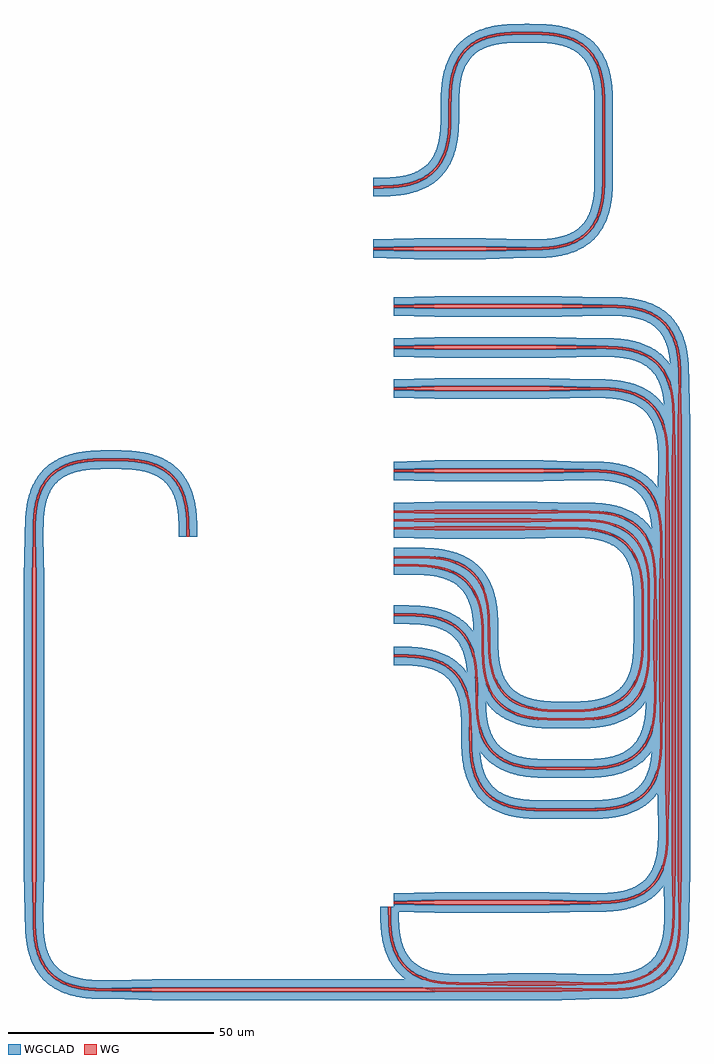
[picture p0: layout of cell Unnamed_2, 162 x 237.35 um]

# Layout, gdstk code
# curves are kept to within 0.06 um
from math import pi, radians
import gdstk
lib = gdstk.Library(unit=1e-6, precision=1e-09)
def R(c, l, rs):  # rectangles x0, y0, x1, y1
    for r in rs: c.add(gdstk.rectangle(r[:2], r[2:], *l))
def P(c, l, *ps):  # polygons
    for p in ps: c.add(gdstk.Polygon(p, *l))
WG = (1, 0)
WGCLAD = (111, 0)

straight_cssym_f7fe636c_ = lib.new_cell('straight_CSsym_f7fe636c_1000_L17402')
R(straight_cssym_f7fe636c_, WG, [(0,-0.5,17.402,0.5)])
R(straight_cssym_f7fe636c_, WGCLAD, [(0,-2.5,17.402,-0.5), (0,0.5,17.402,2.5)])

c_straight_cssym_f7fe636c_ = lib.new_cell('straight_CSsym_f7fe636c_500_L15000')
R(c_straight_cssym_f7fe636c_, WG, [(0,-0.25,15,0.25)])
R(c_straight_cssym_f7fe636c_, WGCLAD, [(0,-2.25,15,-0.25), (0,0.25,15,2.25)])

bend_euler_cssym_f7fe636 = lib.new_cell('bend_euler_CSsym_f7fe636c_500_R10_A90_R150')
P(bend_euler_cssym_f7fe636, WG, [(0,-0.25),(0,0.25),(3.214,0.285),(5.343,0.413),(7.449,0.696),(9.255,1.116),(10.752,1.632),(12.178,2.312),(13.501,3.168),(14.496,4.019),(15.372,4.992),(16.258,6.294),(16.967,7.705),(17.51,9.193),(17.956,10.991),(18.262,13.093),(18.416,15.487),(18.451,18.701),(18.951,18.701),(18.924,15.741),(18.786,13.312),(18.544,11.43),(18.139,9.57),(17.532,7.761),(16.826,6.28),(16.095,5.121),(15.04,3.856),(13.801,2.769),(12.421,1.875),(10.94,1.169),(9.131,0.562),(7.271,0.157),(5.389,-0.085),(2.96,-0.223)])
P(bend_euler_cssym_f7fe636, WGCLAD, [(0,-2.25),(0,-0.25),(2.96,-0.223),(5.389,-0.085),(7.271,0.157),(9.131,0.562),(10.94,1.169),(12.421,1.875),(13.58,2.606),(14.845,3.661),(15.932,4.9),(16.826,6.28),(17.532,7.761),(18.139,9.57),(18.544,11.43),(18.786,13.312),(18.924,15.741),(18.951,18.701),(20.951,18.701),(20.923,15.685),(20.777,13.129),(20.516,11.097),(20.069,9.045),(19.385,7.008),(18.574,5.309),(17.531,3.698),(16.473,2.461),(15.26,1.368),(13.668,0.284),(11.98,-0.564),(9.948,-1.286),(7.897,-1.764),(5.572,-2.076),(3.016,-2.222)],
  [(0,0.25),(0,2.25),(4.663,2.364),(6.377,2.547),(8.021,2.859),(9.575,3.322),(10.816,3.854),(12.126,4.64),(13.101,5.452),(13.934,6.402),(14.745,7.688),(15.299,8.912),(15.786,10.452),(16.118,12.084),(16.318,13.789),(16.451,18.701),(18.451,18.701),(18.416,15.487),(18.288,13.358),(18.051,11.513),(17.656,9.701),(17.069,7.949),(16.389,6.523),(15.533,5.2),(14.496,4.019),(13.289,3.013),(11.947,2.187),(10.507,1.535),(8.744,0.977),(6.926,0.607),(5.078,0.39)])

c_straight_cssym_f7fe636c__ = lib.new_cell('straight_CSsym_f7fe636c_1000_L30902')
R(c_straight_cssym_f7fe636c__, WG, [(0,-0.5,30.902,0.5)])
R(c_straight_cssym_f7fe636c__, WGCLAD, [(0,-2.5,30.902,-0.5), (0,0.5,30.902,2.5)])

c_straight_cssym_f7fe636c___ = lib.new_cell('straight_CSsym_f7fe636c_1000_L108799')
R(c_straight_cssym_f7fe636c___, WG, [(0,-0.5,108.799,0.5)])
R(c_straight_cssym_f7fe636c___, WGCLAD, [(0,-2.5,108.799,-0.5), (0,0.5,108.799,2.5)])

c_straight_cssym_f7fe636c____ = lib.new_cell('straight_CSsym_f7fe636c_500_L11000')
R(c_straight_cssym_f7fe636c____, WG, [(0,-0.25,11,0.25)])
R(c_straight_cssym_f7fe636c____, WGCLAD, [(0,-2.25,11,-0.25), (0,0.25,11,2.25)])

c_straight_cssym_f7fe636c_____ = lib.new_cell('straight_CSsym_f7fe636c_1000_L97299')
R(c_straight_cssym_f7fe636c_____, WG, [(0,-0.5,97.299,0.5)])
R(c_straight_cssym_f7fe636c_____, WGCLAD, [(0,-2.5,97.299,-0.5), (0,0.5,97.299,2.5)])

c_straight_cssym_f7fe636c______ = lib.new_cell('straight_CSsym_f7fe636c_500_L3000')
R(c_straight_cssym_f7fe636c______, WG, [(0,-0.25,3,0.25)])
R(c_straight_cssym_f7fe636c______, WGCLAD, [(0,-2.25,3,-0.25), (0,0.25,3,2.25)])

c_straight_cssym_f7fe636c_______ = lib.new_cell('straight_CSsym_f7fe636c_1000_L11701')
R(c_straight_cssym_f7fe636c_______, WG, [(0,-0.5,11.701,0.5)])
R(c_straight_cssym_f7fe636c_______, WGCLAD, [(0,-2.5,11.701,-0.5), (0,0.5,11.701,2.5)])

c_straight_cssym_f7fe636c________ = lib.new_cell('straight_CSsym_f7fe636c_1000_L23402')
R(c_straight_cssym_f7fe636c________, WG, [(0,-0.5,23.402,0.5)])
R(c_straight_cssym_f7fe636c________, WGCLAD, [(0,-2.5,23.402,-0.5), (0,0.5,23.402,2.5)])

c_straight_cssym_f7fe636c_________ = lib.new_cell('straight_CSsym_f7fe636c_1000_L21902')
R(c_straight_cssym_f7fe636c_________, WG, [(0,-0.5,21.902,0.5)])
R(c_straight_cssym_f7fe636c_________, WGCLAD, [(0,-2.5,21.902,-0.5), (0,0.5,21.902,2.5)])

c_straight_cssym_f7fe636c__________ = lib.new_cell('straight_CSsym_f7fe636c_500_L9000')
R(c_straight_cssym_f7fe636c__________, WG, [(0,-0.25,9,0.25)])
R(c_straight_cssym_f7fe636c__________, WGCLAD, [(0,-2.25,9,-0.25), (0,0.25,9,2.25)])

taper_cssym_f7fe636c_500 = lib.new_cell('taper_CSsym_f7fe636c_500_CSsym_f7fe636c_1000_L10000')
P(taper_cssym_f7fe636c_500, WG, [(10,-0.5),(0,-0.25),(0,0.25),(10,0.5)])
P(taper_cssym_f7fe636c_500, WGCLAD, [(0,0.25),(0,2.25),(10,2.5),(10,0.5)],
  [(10,-2.5),(0,-2.25),(0,-0.25),(10,-0.5)])

c_straight_cssym_f7fe636c___________ = lib.new_cell('straight_CSsym_f7fe636c_500_L1500')
R(c_straight_cssym_f7fe636c___________, WG, [(0,-0.25,1.5,0.25)])
R(c_straight_cssym_f7fe636c___________, WGCLAD, [(0,-2.25,1.5,-0.25), (0,0.25,1.5,2.25)])

c_straight_cssym_f7fe636c____________ = lib.new_cell('straight_CSsym_f7fe636c_500_L7000')
R(c_straight_cssym_f7fe636c____________, WG, [(0,-0.25,7,0.25)])
R(c_straight_cssym_f7fe636c____________, WGCLAD, [(0,-2.25,7,-0.25), (0,0.25,7,2.25)])

c_straight_cssym_f7fe636c_____________ = lib.new_cell('straight_CSsym_f7fe636c_1000_L67598')
R(c_straight_cssym_f7fe636c_____________, WG, [(0,-0.5,67.598,0.5)])
R(c_straight_cssym_f7fe636c_____________, WGCLAD, [(0,-2.5,67.598,-0.5), (0,0.5,67.598,2.5)])

c_straight_cssym_f7fe636c______________ = lib.new_cell('straight_CSsym_f7fe636c_1000_L99603')
R(c_straight_cssym_f7fe636c______________, WG, [(0,-0.5,99.603,0.5)])
R(c_straight_cssym_f7fe636c______________, WGCLAD, [(0,-2.5,99.603,-0.5), (0,0.5,99.603,2.5)])

c_straight_cssym_f7fe636c_______________ = lib.new_cell('straight_CSsym_f7fe636c_1000_L71500')
R(c_straight_cssym_f7fe636c_______________, WG, [(0,-0.5,71.5,0.5)])
R(c_straight_cssym_f7fe636c_______________, WGCLAD, [(0,-2.5,71.5,-0.5), (0,0.5,71.5,2.5)])

c_straight_cssym_f7fe636c________________ = lib.new_cell('straight_CSsym_f7fe636c_500_L4500')
R(c_straight_cssym_f7fe636c________________, WG, [(0,-0.25,4.5,0.25)])
R(c_straight_cssym_f7fe636c________________, WGCLAD, [(0,-2.25,4.5,-0.25), (0,0.25,4.5,2.25)])

c_straight_cssym_f7fe636c_________________ = lib.new_cell('straight_CSsym_f7fe636c_1000_L27902')
R(c_straight_cssym_f7fe636c_________________, WG, [(0,-0.5,27.902,0.5)])
R(c_straight_cssym_f7fe636c_________________, WGCLAD, [(0,-2.5,27.902,-0.5), (0,0.5,27.902,2.5)])

c_straight_cssym_f7fe636c__________________ = lib.new_cell('straight_CSsym_f7fe636c_500_L6000')
R(c_straight_cssym_f7fe636c__________________, WG, [(0,-0.25,6,0.25)])
R(c_straight_cssym_f7fe636c__________________, WGCLAD, [(0,-2.25,6,-0.25), (0,0.25,6,2.25)])

c_straight_cssym_f7fe636c___________________ = lib.new_cell('straight_CSsym_f7fe636c_1000_L5000')
R(c_straight_cssym_f7fe636c___________________, WG, [(0,-0.5,5,0.5)])
R(c_straight_cssym_f7fe636c___________________, WGCLAD, [(0,-2.5,5,-0.5), (0,0.5,5,2.5)])

c_straight_cssym_f7fe636c____________________ = lib.new_cell('straight_CSsym_f7fe636c_1000_L24902')
R(c_straight_cssym_f7fe636c____________________, WG, [(0,-0.5,24.902,0.5)])
R(c_straight_cssym_f7fe636c____________________, WGCLAD, [(0,-2.5,24.902,-0.5), (0,0.5,24.902,2.5)])

c_straight_cssym_f7fe636c_____________________ = lib.new_cell('straight_CSsym_f7fe636c_1000_L25000')
R(c_straight_cssym_f7fe636c_____________________, WG, [(0,-0.5,25,0.5)])
R(c_straight_cssym_f7fe636c_____________________, WGCLAD, [(0,-2.5,25,-0.5), (0,0.5,25,2.5)])

c_straight_cssym_f7fe636c______________________ = lib.new_cell('straight_CSsym_f7fe636c_1000_L26402')
R(c_straight_cssym_f7fe636c______________________, WG, [(0,-0.5,26.402,0.5)])
R(c_straight_cssym_f7fe636c______________________, WGCLAD, [(0,-2.5,26.402,-0.5), (0,0.5,26.402,2.5)])

c_straight_cssym_f7fe636c_______________________ = lib.new_cell('straight_CSsym_f7fe636c_1000_L29402')
R(c_straight_cssym_f7fe636c_______________________, WG, [(0,-0.5,29.402,0.5)])
R(c_straight_cssym_f7fe636c_______________________, WGCLAD, [(0,-2.5,29.402,-0.5), (0,0.5,29.402,2.5)])

unnamed_2 = lib.new_cell('Unnamed_2')
unnamed_2.add(gdstk.Reference(straight_cssym_f7fe636c_, (22.402,75), rotation=pi))
unnamed_2.add(gdstk.Reference(c_straight_cssym_f7fe636c_, (51.103,108.701), rotation=3*pi/2))
unnamed_2.add(gdstk.Reference(bend_euler_cssym_f7fe636, (32.402,75)))
unnamed_2.add(gdstk.Reference(c_straight_cssym_f7fe636c__, (40.902,61), rotation=pi))
unnamed_2.add(gdstk.Reference(c_straight_cssym_f7fe636c___, (69.603,-76.5), rotation=pi/2))
unnamed_2.add(gdstk.Reference(c_straight_cssym_f7fe636c____, (62.103,-20.701), rotation=pi/2))
unnamed_2.add(gdstk.Reference(c_straight_cssym_f7fe636c_____, (68.103,-75), rotation=pi/2))
unnamed_2.add(gdstk.Reference(c_straight_cssym_f7fe636c______, (40.402,-39.402)))
unnamed_2.add(gdstk.Reference(c_straight_cssym_f7fe636c______, (0,-2)))
unnamed_2.add(gdstk.Reference(c_straight_cssym_f7fe636c_______, (27.701,-103.701)))
unnamed_2.add(gdstk.Reference(c_straight_cssym_f7fe636c________, (33.402,9), rotation=pi))
unnamed_2.add(gdstk.Reference(bend_euler_cssym_f7fe636, (41.902,7), x_reflection=True))
unnamed_2.add(gdstk.Reference(bend_euler_cssym_f7fe636, (43.402,9), x_reflection=True))
unnamed_2.add(gdstk.Reference(bend_euler_cssym_f7fe636, (44.902,11), x_reflection=True))
unnamed_2.add(gdstk.Reference(bend_euler_cssym_f7fe636, (46.402,21), x_reflection=True))
unnamed_2.add(gdstk.Reference(bend_euler_cssym_f7fe636, (-68.701,23.701), x_reflection=True))
unnamed_2.add(gdstk.Reference(bend_euler_cssym_f7fe636, (47.902,41), x_reflection=True))
unnamed_2.add(gdstk.Reference(bend_euler_cssym_f7fe636, (49.402,51), x_reflection=True))
unnamed_2.add(gdstk.Reference(bend_euler_cssym_f7fe636, (50.902,61), x_reflection=True))
unnamed_2.add(gdstk.Reference(c_straight_cssym_f7fe636c_________, (31.902,7), rotation=pi))
unnamed_2.add(gdstk.Reference(c_straight_cssym_f7fe636c__________, (37.402,-61.402)))
unnamed_2.add(gdstk.Reference(taper_cssym_f7fe636c_500, (-68.701,-105.201)))
unnamed_2.add(gdstk.Reference(taper_cssym_f7fe636c_500, (17.701,-103.701)))
unnamed_2.add(gdstk.Reference(taper_cssym_f7fe636c_500, (0,-84)))
unnamed_2.add(gdstk.Reference(taper_cssym_f7fe636c_500, (0,7)))
unnamed_2.add(gdstk.Reference(taper_cssym_f7fe636c_500, (0,9)))
unnamed_2.add(gdstk.Reference(taper_cssym_f7fe636c_500, (0,11)))
unnamed_2.add(gdstk.Reference(taper_cssym_f7fe636c_500, (0,21)))
unnamed_2.add(gdstk.Reference(taper_cssym_f7fe636c_500, (0,41)))
unnamed_2.add(gdstk.Reference(taper_cssym_f7fe636c_500, (0,51)))
unnamed_2.add(gdstk.Reference(taper_cssym_f7fe636c_500, (0,61)))
unnamed_2.add(gdstk.Reference(taper_cssym_f7fe636c_500, (-5,75)))
unnamed_2.add(gdstk.Reference(taper_cssym_f7fe636c_500, (50.902,-105.201), rotation=pi))
unnamed_2.add(gdstk.Reference(taper_cssym_f7fe636c_500, (49.402,-103.701), rotation=pi))
unnamed_2.add(gdstk.Reference(taper_cssym_f7fe636c_500, (47.902,-84), rotation=pi))
unnamed_2.add(gdstk.Reference(taper_cssym_f7fe636c_500, (41.902,7), rotation=pi))
unnamed_2.add(gdstk.Reference(taper_cssym_f7fe636c_500, (43.402,9), rotation=pi))
unnamed_2.add(gdstk.Reference(taper_cssym_f7fe636c_500, (44.902,11), rotation=pi))
unnamed_2.add(gdstk.Reference(taper_cssym_f7fe636c_500, (46.402,21), rotation=pi))
unnamed_2.add(gdstk.Reference(taper_cssym_f7fe636c_500, (47.902,41), rotation=pi))
unnamed_2.add(gdstk.Reference(taper_cssym_f7fe636c_500, (49.402,51), rotation=pi))
unnamed_2.add(gdstk.Reference(taper_cssym_f7fe636c_500, (50.902,61), rotation=pi))
unnamed_2.add(gdstk.Reference(taper_cssym_f7fe636c_500, (32.402,75), rotation=pi))
unnamed_2.add(gdstk.Reference(bend_euler_cssym_f7fe636, (32.402,127.402), rotation=pi))
unnamed_2.add(gdstk.Reference(c_straight_cssym_f7fe636c___________, (0,-14)))
unnamed_2.add(gdstk.Reference(c_straight_cssym_f7fe636c____________, (60.603,-18.701), rotation=pi/2))
unnamed_2.add(gdstk.Reference(bend_euler_cssym_f7fe636, (69.603,-86.5), rotation=3*pi/2, x_reflection=True))
unnamed_2.add(gdstk.Reference(bend_euler_cssym_f7fe636, (68.103,-85), rotation=3*pi/2, x_reflection=True))
unnamed_2.add(gdstk.Reference(bend_euler_cssym_f7fe636, (66.603,-65.299), rotation=3*pi/2, x_reflection=True))
unnamed_2.add(gdstk.Reference(bend_euler_cssym_f7fe636, (65.103,-42.701), rotation=3*pi/2, x_reflection=True))
unnamed_2.add(gdstk.Reference(bend_euler_cssym_f7fe636, (63.603,-32.701), rotation=3*pi/2, x_reflection=True))
unnamed_2.add(gdstk.Reference(bend_euler_cssym_f7fe636, (62.103,-20.701), rotation=3*pi/2, x_reflection=True))
unnamed_2.add(gdstk.Reference(bend_euler_cssym_f7fe636, (60.603,-18.701), rotation=3*pi/2, x_reflection=True))
unnamed_2.add(gdstk.Reference(bend_euler_cssym_f7fe636, (13.701,108.701), rotation=3*pi/2, x_reflection=True))
unnamed_2.add(gdstk.Reference(c_straight_cssym_f7fe636c_____________, (66.603,-55.299), rotation=pi/2))
unnamed_2.add(gdstk.Reference(bend_euler_cssym_f7fe636, (-68.701,-105.201), rotation=pi, x_reflection=True))
unnamed_2.add(gdstk.Reference(bend_euler_cssym_f7fe636, (17.701,-103.701), rotation=pi, x_reflection=True))
unnamed_2.add(gdstk.Reference(bend_euler_cssym_f7fe636, (37.402,-61.402), rotation=pi, x_reflection=True))
unnamed_2.add(gdstk.Reference(bend_euler_cssym_f7fe636, (38.902,-51.402), rotation=pi, x_reflection=True))
unnamed_2.add(gdstk.Reference(bend_euler_cssym_f7fe636, (40.402,-39.402), rotation=pi, x_reflection=True))
unnamed_2.add(gdstk.Reference(bend_euler_cssym_f7fe636, (41.902,-37.402), rotation=pi, x_reflection=True))
unnamed_2.add(gdstk.Reference(c_straight_cssym_f7fe636c______________, (-58.701,-105.201)))
unnamed_2.add(gdstk.Reference(taper_cssym_f7fe636c_500, (-87.402,-86.5), rotation=pi/2))
unnamed_2.add(gdstk.Reference(taper_cssym_f7fe636c_500, (69.603,-86.5), rotation=pi/2))
unnamed_2.add(gdstk.Reference(taper_cssym_f7fe636c_500, (68.103,-85), rotation=pi/2))
unnamed_2.add(gdstk.Reference(taper_cssym_f7fe636c_500, (66.603,-65.299), rotation=pi/2))
unnamed_2.add(gdstk.Reference(taper_cssym_f7fe636c_500, (65.103,-42.701), rotation=pi/2))
unnamed_2.add(gdstk.Reference(taper_cssym_f7fe636c_500, (63.603,-32.701), rotation=pi/2))
unnamed_2.add(gdstk.Reference(c_straight_cssym_f7fe636c_______________, (-87.402,-5), rotation=3*pi/2))
unnamed_2.add(gdstk.Reference(c_straight_cssym_f7fe636c________________, (0,0)))
unnamed_2.add(gdstk.Reference(bend_euler_cssym_f7fe636, (18.701,-42.701), rotation=pi/2))
unnamed_2.add(gdstk.Reference(bend_euler_cssym_f7fe636, (20.201,-32.701), rotation=pi/2))
unnamed_2.add(gdstk.Reference(bend_euler_cssym_f7fe636, (21.701,-20.701), rotation=pi/2))
unnamed_2.add(gdstk.Reference(bend_euler_cssym_f7fe636, (23.201,-18.701), rotation=pi/2))
unnamed_2.add(gdstk.Reference(bend_euler_cssym_f7fe636, (51.103,108.701), rotation=pi/2))
unnamed_2.add(gdstk.Reference(c_straight_cssym_f7fe636c_________________, (10,-84)))
unnamed_2.add(gdstk.Reference(c_straight_cssym_f7fe636c__________________, (38.902,-51.402)))
unnamed_2.add(gdstk.Reference(c_straight_cssym_f7fe636c___________________, (63.603,-22.701), rotation=pi/2))
unnamed_2.add(gdstk.Reference(c_straight_cssym_f7fe636c____________________, (34.902,11), rotation=pi))
unnamed_2.add(gdstk.Reference(bend_euler_cssym_f7fe636, (-87.402,5), rotation=pi/2, x_reflection=True))
unnamed_2.add(gdstk.Reference(taper_cssym_f7fe636c_500, (63.603,-7.701), rotation=3*pi/2))
unnamed_2.add(gdstk.Reference(taper_cssym_f7fe636c_500, (65.103,2.299), rotation=3*pi/2))
unnamed_2.add(gdstk.Reference(taper_cssym_f7fe636c_500, (-87.402,5), rotation=3*pi/2))
unnamed_2.add(gdstk.Reference(taper_cssym_f7fe636c_500, (66.603,22.299), rotation=3*pi/2))
unnamed_2.add(gdstk.Reference(taper_cssym_f7fe636c_500, (68.103,32.299), rotation=3*pi/2))
unnamed_2.add(gdstk.Reference(taper_cssym_f7fe636c_500, (69.603,42.299), rotation=3*pi/2))
unnamed_2.add(gdstk.Reference(c_straight_cssym_f7fe636c_____________________, (65.103,-32.701), rotation=pi/2))
unnamed_2.add(gdstk.Reference(c_straight_cssym_f7fe636c______________________, (36.402,21), rotation=pi))
unnamed_2.add(gdstk.Reference(c_straight_cssym_f7fe636c_________________, (37.902,41), rotation=pi))
unnamed_2.add(gdstk.Reference(c_straight_cssym_f7fe636c_______________________, (39.402,51), rotation=pi))

lib.write_gds('Unnamed_2.gds')
